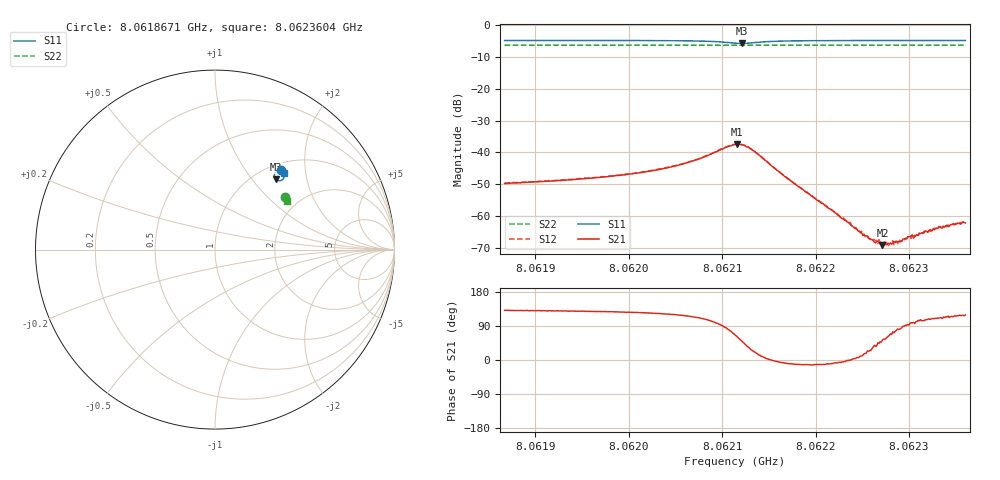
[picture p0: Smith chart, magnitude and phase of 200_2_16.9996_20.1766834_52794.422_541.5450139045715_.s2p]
#  HZ  S  RI  R  50.00
! Rohde & Schwarz Vector Network Analyzer
! Rohde-Schwarz,ZNB20-2Port,1311601062101988,3.16
! Created: UTC 3/20/2024, 11:01:01 PM
! freq[Hz]  re:S11  im:S11  re:S21  im:S21  re:S12  im:S12  re:S22  im:S22
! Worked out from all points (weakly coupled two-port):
!   401 points, 8.0618671 GHz to 8.0623604 GHz, reference 50 ohm
!   highest |S21| = -37.45 dB at 8.0621162 GHz (marker M1); lowest = -69.1 dB at 8.0622716 GHz (marker M2)
!   lowest |S11| = -5.7 dB at 8.0621212 GHz (marker M3), VSWR 3.14, Z = 62.1 + j66.3 ohm
!   |S11| at or under -10 dB: nowhere
!   |S22| runs from -6.3 to -6.3 dB; largest |S21 - S12| = 0.001
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8.06186707e9  0.3679 0.443  -0.00213 0.00245  -0.002 0.00262  0.3873 0.2945
8.06194971e9  0.3743 0.4371  -0.00239 0.00298  -0.00226 0.00319  0.3901 0.2903
8.06199041e9  0.3778 0.4331  -0.00261 0.0035  -0.00243 0.00364  0.3915 0.2883
8.06203235e9  0.3821 0.4268  -0.0029 0.00455  -0.00265 0.00478  0.3929 0.286
8.06206935e9  0.386 0.4151  -0.00296 0.00677  -0.00256 0.00698  0.3943 0.2838
8.06211376e9  0.3548 0.3836  0.00538 0.0122  0.00616 0.0119  0.3937 0.2807
8.06211622e9  0.3492 0.3847  0.00649 0.0117  0.00725 0.0113  0.3934 0.2809
8.06212116e9  0.339 0.3909  0.00854 0.0101  0.00924 0.00951  0.3934 0.281
8.06212856e9  0.3307 0.4055  0.01 0.00644  0.0105 0.00584  0.3936 0.2817
8.06213473e9  0.3308 0.4178  0.00969 0.00372  0.00998 0.00315  0.3939 0.2817
8.06216803e9  0.355 0.4392  0.00404 -0.000592  0.00405 -0.000848  0.3962 0.2808
8.0621964e9  0.366 0.4384  0.00198 -0.000454  0.00199 -0.000557  0.3978 0.2791
8.06223464e9  0.3736 0.4358  0.000806 -2.83e-05  0.000829 -5.09e-05  0.399 0.2771
8.06225067e9  0.3759 0.4345  0.000483 0.000108  0.0005 7.2e-05  0.3997 0.2764
8.06226177e9  0.3773 0.4336  0.000336 0.000232  0.000398 0.000161  0.4001 0.2757
8.06227164e9  0.3784 0.4329  0.000213 0.000277  0.000231 0.000297  0.4003 0.2752
8.06227904e9  0.3791 0.4325  0.000154 0.00033  0.000172 0.000315  0.4006 0.2748
8.06229014e9  0.3804 0.4317  5.69e-05 0.000387  9.88e-05 0.000404  0.4012 0.2742
8.06230124e9  0.3815 0.4309  -5.85e-05 0.000468  -2.03e-05 0.00047  0.4014 0.2737
8.06230741e9  0.3819 0.4305  -9.32e-05 0.000483  -7.96e-05 0.000525  0.4017 0.2734
8.06233084e9  0.3838 0.429  -0.000225 0.000593  -0.000191 0.000613  0.4024 0.2721
8.06236045e9  0.3862 0.4272  -0.000372 0.000682  -0.000311 0.000741  0.4034 0.2707
